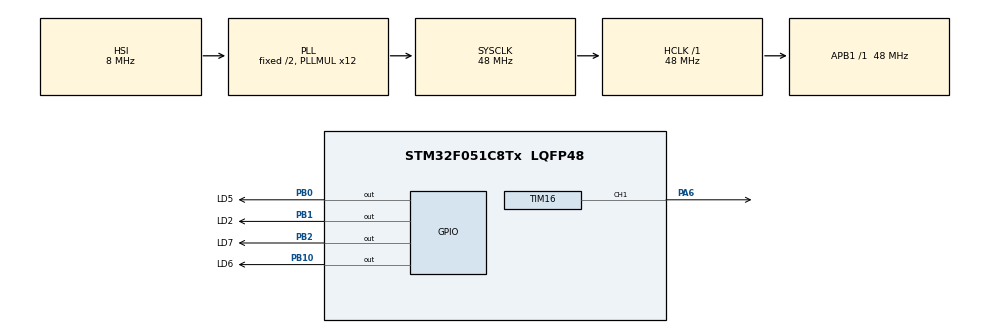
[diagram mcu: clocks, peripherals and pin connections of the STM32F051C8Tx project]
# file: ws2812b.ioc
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Dma.Request0=TIM16_CH1/UP
Dma.TIM16_CH1/UP.0.Direction=DMA_MEMORY_TO_PERIPH
Dma.TIM16_CH1/UP.0.Instance=DMA1_Channel3
Dma.TIM16_CH1/UP.0.MemDataAlignment=DMA_MDATAALIGN_BYTE
Dma.TIM16_CH1/UP.0.MemInc=DMA_MINC_ENABLE
Dma.TIM16_CH1/UP.0.Mode=DMA_NORMAL
Dma.TIM16_CH1/UP.0.PeriphDataAlignment=DMA_PDATAALIGN_WORD
Dma.TIM16_CH1/UP.0.PeriphInc=DMA_PINC_DISABLE
Dma.TIM16_CH1/UP.0.Priority=DMA_PRIORITY_VERY_HIGH
Mcu.Family=STM32F0
Mcu.Name=STM32F051C8Tx
Mcu.Package=LQFP48
NVIC.DMA1_Channel2_3_IRQn=true\:0\:0\:false\:false\:true\:false
PA13.Mode=Serial_Wire
PA13.Signal=SYS_SWDIO
PA14.Mode=Serial_Wire
PA14.Signal=SYS_SWCLK
PA6.GPIO_PuPd=GPIO_PULLUP
PA6.GPIO_Speed=GPIO_SPEED_FREQ_HIGH
PA6.Signal=S_TIM16_CH1
PB0.GPIO_Label=LD5
PB0.Signal=GPIO_Output
PB1.GPIO_Label=LD2
PB1.Signal=GPIO_Output
PB10.GPIO_Label=LD6
PB10.Signal=GPIO_Output
PB2.GPIO_Label=LD7
PB2.Signal=GPIO_Output
PF0-OSC_IN.Mode=HSE-External-Oscillator
PF0-OSC_IN.Signal=RCC_OSC_IN
PF1-OSC_OUT.Mode=HSE-External-Oscillator
PF1-OSC_OUT.Signal=RCC_OSC_OUT
ProjectManager.HeapSize=0x200
ProjectManager.StackSize=0x400
ProjectManager.TargetToolchain=Other Toolchains (GPDSC)
RCC.AHBFreq_Value=48000000
RCC.APB1Freq_Value=48000000
RCC.APB1TimFreq_Value=48000000
RCC.FLatency=FLASH_LATENCY_1
RCC.HCLKFreq_Value=48000000
RCC.PLLMUL=RCC_PLL_MUL12
RCC.SYSCLKFreq_VALUE=48000000
RCC.SYSCLKSource=RCC_SYSCLKSOURCE_PLLCLK
SH.S_TIM16_CH1.0=TIM16_CH1,PWM Generation1 CH1
TIM16.Channel=TIM_CHANNEL_1
TIM16.Period=60
VP_TIM16_VS_ClockSourceINT.Mode=Enable_Timer
board=custom

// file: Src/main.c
/**
  ******************************************************************************
  * @file           : main.c
  * @brief          : Main program body
  ******************************************************************************
  ** This notice applies to any and all portions of this file
  * that are not between comment pairs USER CODE BEGIN and
  * USER CODE END. Other portions of this file, whether
  * inserted by the user or by software development tools
  * are owned by their respective copyright owners.
  *
  * COPYRIGHT(c) 2018 STMicroelectronics
  *
  * Redistribution and use in source and binary forms, with or without modification,
  * are permitted provided that the following conditions are met:
  *   1. Redistributions of source code must retain the above copyright notice,
  *      this list of conditions and the following disclaimer.
  *   2. Redistributions in binary form must reproduce the above copyright notice,
  *      this list of conditions and the following disclaimer in the documentation
  *      and/or other materials provided with the distribution.
  *   3. Neither the name of STMicroelectronics nor the names of its contributors
  *      may be used to endorse or promote products derived from this software
  *      without specific prior written permission.
  *
  * THIS SOFTWARE IS PROVIDED BY THE COPYRIGHT HOLDERS AND CONTRIBUTORS "AS IS"
  * AND ANY EXPRESS OR IMPLIED WARRANTIES, INCLUDING, BUT NOT LIMITED TO, THE
  * IMPLIED WARRANTIES OF MERCHANTABILITY AND FITNESS FOR A PARTICULAR PURPOSE ARE
  * DISCLAIMED. IN NO EVENT SHALL THE COPYRIGHT HOLDER OR CONTRIBUTORS BE LIABLE
  * FOR ANY DIRECT, INDIRECT, INCIDENTAL, SPECIAL, EXEMPLARY, OR CONSEQUENTIAL
  * DAMAGES (INCLUDING, BUT NOT LIMITED TO, PROCUREMENT OF SUBSTITUTE GOODS OR
  * SERVICES; LOSS OF USE, DATA, OR PROFITS; OR BUSINESS INTERRUPTION) HOWEVER
  * CAUSED AND ON ANY THEORY OF LIABILITY, WHETHER IN CONTRACT, STRICT LIABILITY,
  * OR TORT (INCLUDING NEGLIGENCE OR OTHERWISE) ARISING IN ANY WAY OUT OF THE USE
  * OF THIS SOFTWARE, EVEN IF ADVISED OF THE POSSIBILITY OF SUCH DAMAGE.
  *
  ******************************************************************************
  */
#include "main.h"
#include "stm32f0xx_hal.h"

/* USER CODE BEGIN Includes */
#include "systick.h"
#include "ws2812b.h"
/* USER CODE END Includes */

TIM_HandleTypeDef htim16;
DMA_HandleTypeDef hdma_tim16_ch1_up;

/* USER CODE BEGIN PV */
/* Private variables ---------------------------------------------------------*/
extern const uint32_t preset1[];
/* USER CODE END PV */

void SystemClock_Config(void);
static void MX_GPIO_Init(void);
static void MX_DMA_Init(void);
static void MX_TIM16_Init(void);
void HAL_TIM_MspPostInit(TIM_HandleTypeDef *htim);

/* USER CODE BEGIN PFP */
/* Private function prototypes -----------------------------------------------*/
/* USER CODE END PFP */

int main(void)
{
  /* USER CODE BEGIN 1 */
    static uint32_t delay = 0;
  /* USER CODE END 1 */

  /* MCU Configuration----------------------------------------------------------*/

  /* Reset of all peripherals, Initializes the Flash interface and the Systick. */
  HAL_Init();

  /* Configure the system clock */
  SystemClock_Config();

  /* Initialize all configured peripherals */
  MX_GPIO_Init();
  MX_DMA_Init();
  MX_TIM16_Init();
  /* USER CODE BEGIN 2 */

    UserTimersInit();

    StartUserPeriodicTimer(USER_TIMER3, 40);
    StartUserPeriodicTimer(USER_TIMER4, 1000);

    /* inicializuojam buferi */
    WS2812B_Init();

    /* isvalom buferi ir gesinam ledus */
    WS2812B_LedsOff();

  /* USER CODE END 2 */

  /* Infinite loop */
  /* USER CODE BEGIN WHILE */
  while (1)
  {

        if( delay < HAL_GetTick() ){

            delay = HAL_GetTick() + 20;

            WS2812B_ShowMeteo(&MeteoBlue);

            SendToLedsRequired = SET;
        }

  /* USER CODE END WHILE */

  /* USER CODE BEGIN 3 */

        /* siunciam buferi */
        WS2812B_SendOverDMA();
  }
  /* USER CODE END 3 */

}

void SystemClock_Config(void)
{

  RCC_OscInitTypeDef RCC_OscInitStruct;
  RCC_ClkInitTypeDef RCC_ClkInitStruct;

    /**Initializes the CPU, AHB and APB busses clocks
    */
  RCC_OscInitStruct.OscillatorType = RCC_OSCILLATORTYPE_HSI;
  RCC_OscInitStruct.HSIState = RCC_HSI_ON;
  RCC_OscInitStruct.HSICalibrationValue = 16;
  RCC_OscInitStruct.PLL.PLLState = RCC_PLL_ON;
  RCC_OscInitStruct.PLL.PLLSource = RCC_PLLSOURCE_HSI;
  RCC_OscInitStruct.PLL.PLLMUL = RCC_PLL_MUL12;
  RCC_OscInitStruct.PLL.PREDIV = RCC_PREDIV_DIV1;
  if (HAL_RCC_OscConfig(&RCC_OscInitStruct) != HAL_OK)
  {
    _Error_Handler(__FILE__, __LINE__);
  }

    /**Initializes the CPU, AHB and APB busses clocks
    */
  RCC_ClkInitStruct.ClockType = RCC_CLOCKTYPE_HCLK|RCC_CLOCKTYPE_SYSCLK
                              |RCC_CLOCKTYPE_PCLK1;
  RCC_ClkInitStruct.SYSCLKSource = RCC_SYSCLKSOURCE_PLLCLK;
  RCC_ClkInitStruct.AHBCLKDivider = RCC_SYSCLK_DIV1;
  RCC_ClkInitStruct.APB1CLKDivider = RCC_HCLK_DIV1;

  if (HAL_RCC_ClockConfig(&RCC_ClkInitStruct, FLASH_LATENCY_1) != HAL_OK)
  {
    _Error_Handler(__FILE__, __LINE__);
  }

    /**Configure the Systick interrupt time
    */
  HAL_SYSTICK_Config(HAL_RCC_GetHCLKFreq()/1000);

    /**Configure the Systick
    */
  HAL_SYSTICK_CLKSourceConfig(SYSTICK_CLKSOURCE_HCLK);

  /* SysTick_IRQn interrupt configuration */
  HAL_NVIC_SetPriority(SysTick_IRQn, 0, 0);
}

/* TIM16 init function */
static void MX_TIM16_Init(void)
{

  TIM_OC_InitTypeDef sConfigOC;
  TIM_BreakDeadTimeConfigTypeDef sBreakDeadTimeConfig;

  htim16.Instance = TIM16;
  htim16.Init.Prescaler = 0;
  htim16.Init.CounterMode = TIM_COUNTERMODE_UP;
  htim16.Init.Period = 60;
  htim16.Init.ClockDivision = TIM_CLOCKDIVISION_DIV1;
  htim16.Init.RepetitionCounter = 0;
  htim16.Init.AutoReloadPreload = TIM_AUTORELOAD_PRELOAD_DISABLE;
  if (HAL_TIM_Base_Init(&htim16) != HAL_OK)
  {
    _Error_Handler(__FILE__, __LINE__);
  }

  if (HAL_TIM_PWM_Init(&htim16) != HAL_OK)
  {
    _Error_Handler(__FILE__, __LINE__);
  }

  sConfigOC.OCMode = TIM_OCMODE_PWM1;
  sConfigOC.Pulse = 0;
  sConfigOC.OCPolarity = TIM_OCPOLARITY_HIGH;
  sConfigOC.OCNPolarity = TIM_OCNPOLARITY_HIGH;
  sConfigOC.OCFastMode = TIM_OCFAST_DISABLE;
  sConfigOC.OCIdleState = TIM_OCIDLESTATE_RESET;
  sConfigOC.OCNIdleState = TIM_OCNIDLESTATE_RESET;
  if (HAL_TIM_PWM_ConfigChannel(&htim16, &sConfigOC, TIM_CHANNEL_1) != HAL_OK)
  {
    _Error_Handler(__FILE__, __LINE__);
  }

  sBreakDeadTimeConfig.OffStateRunMode = TIM_OSSR_DISABLE;
  sBreakDeadTimeConfig.OffStateIDLEMode = TIM_OSSI_DISABLE;
  sBreakDeadTimeConfig.LockLevel = TIM_LOCKLEVEL_OFF;
  sBreakDeadTimeConfig.DeadTime = 0;
  sBreakDeadTimeConfig.BreakState = TIM_BREAK_DISABLE;
  sBreakDeadTimeConfig.BreakPolarity = TIM_BREAKPOLARITY_HIGH;
  sBreakDeadTimeConfig.AutomaticOutput = TIM_AUTOMATICOUTPUT_DISABLE;
  if (HAL_TIMEx_ConfigBreakDeadTime(&htim16, &sBreakDeadTimeConfig) != HAL_OK)
  {
    _Error_Handler(__FILE__, __LINE__);
  }

  HAL_TIM_MspPostInit(&htim16);

}

static void MX_DMA_Init(void)
{
  /* DMA controller clock enable */
  __HAL_RCC_DMA1_CLK_ENABLE();

  /* DMA interrupt init */
  /* DMA1_Channel2_3_IRQn interrupt configuration */
  HAL_NVIC_SetPriority(DMA1_Channel2_3_IRQn, 0, 0);
  HAL_NVIC_EnableIRQ(DMA1_Channel2_3_IRQn);

}

/** Configure pins as
        * Analog
        * Input
        * Output
        * EVENT_OUT
        * EXTI
*/
static void MX_GPIO_Init(void)
{

  GPIO_InitTypeDef GPIO_InitStruct;

  /* GPIO Ports Clock Enable */
  __HAL_RCC_GPIOF_CLK_ENABLE();
  __HAL_RCC_GPIOA_CLK_ENABLE();
  __HAL_RCC_GPIOB_CLK_ENABLE();

  /*Configure GPIO pin Output Level */
  HAL_GPIO_WritePin(GPIOB, LD5_Pin|LD2_Pin|LD7_Pin|LD6_Pin, GPIO_PIN_RESET);

  /*Configure GPIO pins : LD5_Pin LD2_Pin LD7_Pin LD6_Pin */
  GPIO_InitStruct.Pin = LD5_Pin|LD2_Pin|LD7_Pin|LD6_Pin;
  GPIO_InitStruct.Mode = GPIO_MODE_OUTPUT_PP;
  GPIO_InitStruct.Pull = GPIO_NOPULL;
  GPIO_InitStruct.Speed = GPIO_SPEED_FREQ_LOW;
  HAL_GPIO_Init(GPIOB, &GPIO_InitStruct);

}

/* USER CODE BEGIN 4 */

/* SYSTICK callback funkcija */
void HAL_SYSTICK_Callback(void)
{
    SysTimeCounterUpdate();

    //SendToLedsRequired = SET;
}
/* USER CODE END 4 */

void _Error_Handler(char *file, int line)
{
  while(1)
  {
  }
}

/************************ (C) COPYRIGHT STMicroelectronics *****END OF FILE****/
